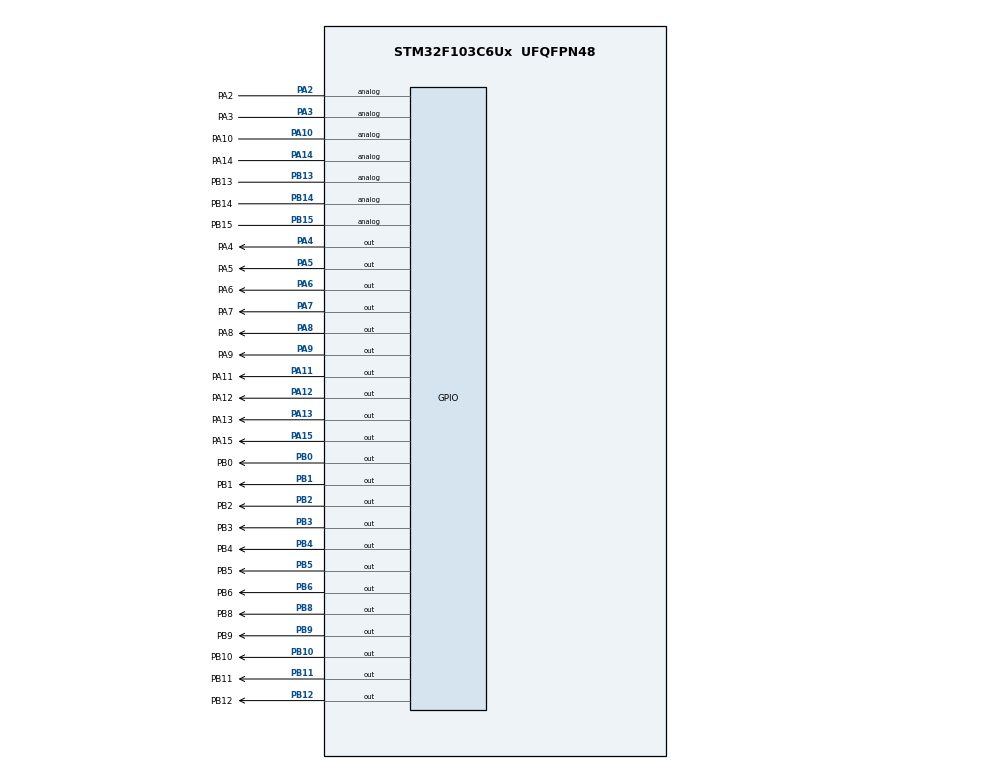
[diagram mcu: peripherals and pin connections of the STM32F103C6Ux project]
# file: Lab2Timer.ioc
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Mcu.Family=STM32F1
Mcu.Name=STM32F103C6Ux
Mcu.Package=UFQFPN48
NVIC.PriorityGroup=NVIC_PRIORITYGROUP_4
NVIC.TIM2_IRQn=true\:0\:0\:false\:false\:true\:true\:true
PA10.GPIO_Label=PA10
PA10.Signal=GPIO_Analog
PA11.GPIO_Label=PA11
PA11.Signal=GPIO_Output
PA12.GPIO_Label=PA12
PA12.Signal=GPIO_Output
PA13.GPIO_Label=PA13
PA13.Signal=GPIO_Output
PA14.GPIO_Label=PA14
PA14.Signal=GPIO_Analog
PA15.GPIO_Label=PA15
PA15.Signal=GPIO_Output
PA2.GPIO_Label=PA2
PA2.Signal=GPIO_Analog
PA3.GPIO_Label=PA3
PA3.Signal=GPIO_Analog
PA4.GPIO_Label=PA4
PA4.Signal=GPIO_Output
PA5.GPIO_Label=PA5
PA5.Signal=GPIO_Output
PA6.GPIO_Label=PA6
PA6.Signal=GPIO_Output
PA7.GPIO_Label=PA7
PA7.Signal=GPIO_Output
PA8.GPIO_Label=PA8
PA8.Signal=GPIO_Output
PA9.GPIO_Label=PA9
PA9.Signal=GPIO_Output
PB0.GPIO_Label=PB0
PB0.Signal=GPIO_Output
PB1.GPIO_Label=PB1
PB1.Signal=GPIO_Output
PB10.GPIO_Label=PB10
PB10.Signal=GPIO_Output
PB11.GPIO_Label=PB11
PB11.Signal=GPIO_Output
PB12.GPIO_Label=PB12
PB12.Signal=GPIO_Output
PB13.GPIO_Label=PB13
PB13.Signal=GPIO_Analog
PB14.GPIO_Label=PB14
PB14.Signal=GPIO_Analog
PB15.GPIO_Label=PB15
PB15.Signal=GPIO_Analog
PB2.GPIO_Label=PB2
PB2.Signal=GPIO_Output
PB3.GPIO_Label=PB3
PB3.Signal=GPIO_Output
PB4.GPIO_Label=PB4
PB4.Signal=GPIO_Output
PB5.GPIO_Label=PB5
PB5.Signal=GPIO_Output
PB6.GPIO_Label=PB6
PB6.Signal=GPIO_Output
PB8.GPIO_Label=PB8
PB8.Signal=GPIO_Output
PB9.GPIO_Label=PB9
PB9.Signal=GPIO_Output
ProjectManager.HeapSize=0x200
ProjectManager.StackSize=0x400
ProjectManager.TargetToolchain=STM32CubeIDE
RCC.APB1Freq_Value=8000000
RCC.APB2Freq_Value=8000000
TIM2.Period=9
TIM2.Prescaler=7999
VP_SYS_VS_ND.Mode=No_Debug
VP_TIM2_VS_ClockSourceINT.Mode=Internal
board=custom

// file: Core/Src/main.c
/* USER CODE BEGIN Header */
/**
  ******************************************************************************
  * @file           : main.c
  * @brief          : Main program body
  ******************************************************************************
  * @attention
  *
  * <h2><center>&copy; Copyright (c) 2024 STMicroelectronics.
  * All rights reserved.</center></h2>
  *
  * This software component is licensed by ST under BSD 3-Clause license,
  * the "License"; You may not use this file except in compliance with the
  * License. You may obtain a copy of the License at:
  *                        opensource.org/licenses/BSD-3-Clause
  *
  ******************************************************************************
  */
/* USER CODE END Header */
#include "main.h"

TIM_HandleTypeDef htim2;

void SystemClock_Config(void);
static void MX_TIM2_Init(void);
static void MX_GPIO_Init(void);

/* USER CODE BEGIN 0 */
int  Ex4Counter = 100;
void Exercise4();
void updateClockBuffer();
void SevenSegmentBCD(int number);
void update7SEG ( int index );
int index_led = 0;
int hour = 15 , minute = 8 , second = 50;

const int MAX_LED_MATRIX = 8 ;
int index_led_matrix = 0;
uint8_t matrix_buffer[8] = { 0x01 , 0x02 , 0x03 , 0x04 , 0x05 , 0x06, 0x07 , 0x08};

void setCol(uint8_t val){
	HAL_GPIO_WritePin(GPIOA, GPIO_PIN_2, (val >> 7)&0x01);
	HAL_GPIO_WritePin(GPIOA, GPIO_PIN_3, (val >> 6)&0x01);
	HAL_GPIO_WritePin(GPIOA, GPIO_PIN_10, (val >> 5)&0x01);
	HAL_GPIO_WritePin(GPIOA, GPIO_PIN_11, (val >> 4)&0x01);
	HAL_GPIO_WritePin(GPIOA, GPIO_PIN_12, (val >> 3)&0x01);
	HAL_GPIO_WritePin(GPIOA, GPIO_PIN_13, (val >> 2)&0x01);
	HAL_GPIO_WritePin(GPIOA, GPIO_PIN_14, (val >> 1)&0x01);
	HAL_GPIO_WritePin(GPIOA, GPIO_PIN_15, (val >> 0)&0x01);
}
void setMATRIX(void){
	HAL_GPIO_WritePin(GPIOB, GPIO_PIN_8, GPIO_PIN_SET);
	HAL_GPIO_WritePin(GPIOB, GPIO_PIN_9, GPIO_PIN_SET);
	HAL_GPIO_WritePin(GPIOB, GPIO_PIN_10, GPIO_PIN_SET);
	HAL_GPIO_WritePin(GPIOB, GPIO_PIN_11, GPIO_PIN_SET);
	HAL_GPIO_WritePin(GPIOB, GPIO_PIN_12, GPIO_PIN_SET);
	HAL_GPIO_WritePin(GPIOB, GPIO_PIN_13, GPIO_PIN_SET);
	HAL_GPIO_WritePin(GPIOB, GPIO_PIN_14, GPIO_PIN_SET);
	HAL_GPIO_WritePin(GPIOB, GPIO_PIN_15, GPIO_PIN_SET);
}

void updateLEDMatrix(int index){
	setMATRIX();
	setCol(matrix_buffer[index]);
	switch(index){

		case 0 :
			HAL_GPIO_WritePin(GPIOB, GPIO_PIN_8, GPIO_PIN_RESET);
					break;
		case 1 :
			HAL_GPIO_WritePin(GPIOB, GPIO_PIN_9, GPIO_PIN_RESET);
					break;
		case 2 :
			HAL_GPIO_WritePin(GPIOB, GPIO_PIN_10, GPIO_PIN_RESET);
					break;
		case 3 :
			HAL_GPIO_WritePin(GPIOB, GPIO_PIN_11, GPIO_PIN_RESET);
					break;
		case 4 :
			HAL_GPIO_WritePin(GPIOB, GPIO_PIN_12, GPIO_PIN_RESET);
					break;
		case 5 :
			HAL_GPIO_WritePin(GPIOB, GPIO_PIN_13, GPIO_PIN_RESET);
					break;
		case 6 :
			HAL_GPIO_WritePin(GPIOB, GPIO_PIN_14, GPIO_PIN_RESET);
					break;
		case 7 :
			HAL_GPIO_WritePin(GPIOB, GPIO_PIN_15, GPIO_PIN_RESET);
					break;
	}
}

int timer0_counter = 0;
int timer0_flag= 0 ;
int timer1_counter = 0;
int timer1_flag= 0 ;
int timer2_counter = 0;
int timer2_flag= 0 ;
int TIMER_CYCLE = 10;

void setTimer0(int duration){
	timer0_counter = duration / TIMER_CYCLE;
	timer0_flag = 0;
}
void setTimer1(int duration){
	timer1_counter = duration / TIMER_CYCLE;
	timer1_flag = 0;
}
void setTimer2(int duration){
	timer2_counter = duration / TIMER_CYCLE;
	timer2_flag = 0;
}
void timer_run(){
	if(timer0_counter >0){
		timer0_counter--;
		if(timer0_counter ==0) timer0_flag=1;
	}
	if(timer1_counter >0){
			timer1_counter--;
			if(timer1_counter ==0) timer1_flag=1;
		}
	if(timer2_counter >0){
			timer2_counter--;
			if(timer2_counter ==0) timer2_flag=1;
		}
}

// Đoạn code này hay quá nên em chép ở đây
void display7SEG(int num) {
  char segNumber[10] = {0xC0, 0xF9, 0xA4, 0xB0, 0x99, 0x92, 0x82, 0xF8, 0x80, 0x90};

  for (int i = 0; i < 7; ++i) {
    // Line needing adjustment for your specific hardware
    HAL_GPIO_WritePin(GPIOB, GPIO_PIN_0 << i, (segNumber[num] >> i) & 1);
  }
}

void Ex5(){

		second ++;
		if ( second >= 60) {
			second = 0;
			minute ++;
		}
		if( minute >= 60) {
			minute = 0;
			hour ++;
		}
		if( hour >=24) {
			hour = 0;
		}
	updateClockBuffer () ;
	HAL_Delay (1000) ;

}
/* USER CODE END 0 */

int main(void)
{

  /* MCU Configuration--------------------------------------------------------*/

  /* Reset of all peripherals, Initializes the Flash interface and the Systick. */
  HAL_Init();

  /* Configure the system clock */
  SystemClock_Config();

  /* Initialize all configured peripherals */
  MX_TIM2_Init();
  MX_GPIO_Init();
  /* USER CODE BEGIN 2 */
  HAL_TIM_Base_Start_IT(&htim2);
  /* USER CODE END 2 */

  /* Infinite loop */
  /* USER CODE BEGIN WHILE */
  setTimer0(1000);
    setTimer1(1000);
    setTimer2(1000);
    while (1)
    {
    /* USER CODE END WHILE */

    /* USER CODE BEGIN 3 */
    	if(timer2_flag == 1 ){
    	    	  		  update7SEG(index_led);
    	    	  		  index_led++;
    	    	  		  if(index_led >=4) index_led = 0;

    	    	  		  updateLEDMatrix(index_led_matrix);
    	    	  		setTimer2(1000);

    	    	  	  }
    }
  /* USER CODE END 3 */
}

void SystemClock_Config(void)
{
  RCC_OscInitTypeDef RCC_OscInitStruct = {0};
  RCC_ClkInitTypeDef RCC_ClkInitStruct = {0};

  /** Initializes the RCC Oscillators according to the specified parameters
  * in the RCC_OscInitTypeDef structure.
  */
  RCC_OscInitStruct.OscillatorType = RCC_OSCILLATORTYPE_HSI;
  RCC_OscInitStruct.HSIState = RCC_HSI_ON;
  RCC_OscInitStruct.HSICalibrationValue = RCC_HSICALIBRATION_DEFAULT;
  RCC_OscInitStruct.PLL.PLLState = RCC_PLL_NONE;
  if (HAL_RCC_OscConfig(&RCC_OscInitStruct) != HAL_OK)
  {
    Error_Handler();
  }
  /** Initializes the CPU, AHB and APB buses clocks
  */
  RCC_ClkInitStruct.ClockType = RCC_CLOCKTYPE_HCLK|RCC_CLOCKTYPE_SYSCLK
                              |RCC_CLOCKTYPE_PCLK1|RCC_CLOCKTYPE_PCLK2;
  RCC_ClkInitStruct.SYSCLKSource = RCC_SYSCLKSOURCE_HSI;
  RCC_ClkInitStruct.AHBCLKDivider = RCC_SYSCLK_DIV1;
  RCC_ClkInitStruct.APB1CLKDivider = RCC_HCLK_DIV1;
  RCC_ClkInitStruct.APB2CLKDivider = RCC_HCLK_DIV1;

  if (HAL_RCC_ClockConfig(&RCC_ClkInitStruct, FLASH_LATENCY_0) != HAL_OK)
  {
    Error_Handler();
  }
}

static void MX_TIM2_Init(void)
{

  TIM_ClockConfigTypeDef sClockSourceConfig = {0};
  TIM_MasterConfigTypeDef sMasterConfig = {0};

  htim2.Instance = TIM2;
  htim2.Init.Prescaler = 7999;
  htim2.Init.CounterMode = TIM_COUNTERMODE_UP;
  htim2.Init.Period = 9;
  htim2.Init.ClockDivision = TIM_CLOCKDIVISION_DIV1;
  htim2.Init.AutoReloadPreload = TIM_AUTORELOAD_PRELOAD_DISABLE;
  if (HAL_TIM_Base_Init(&htim2) != HAL_OK)
  {
    Error_Handler();
  }
  sClockSourceConfig.ClockSource = TIM_CLOCKSOURCE_INTERNAL;
  if (HAL_TIM_ConfigClockSource(&htim2, &sClockSourceConfig) != HAL_OK)
  {
    Error_Handler();
  }
  sMasterConfig.MasterOutputTrigger = TIM_TRGO_RESET;
  sMasterConfig.MasterSlaveMode = TIM_MASTERSLAVEMODE_DISABLE;
  if (HAL_TIMEx_MasterConfigSynchronization(&htim2, &sMasterConfig) != HAL_OK)
  {
    Error_Handler();
  }

}

static void MX_GPIO_Init(void)
{
  GPIO_InitTypeDef GPIO_InitStruct = {0};

  /* GPIO Ports Clock Enable */
  __HAL_RCC_GPIOA_CLK_ENABLE();
  __HAL_RCC_GPIOB_CLK_ENABLE();

  /*Configure GPIO pin Output Level */
  HAL_GPIO_WritePin(GPIOA, PA4_Pin|PA5_Pin|PA6_Pin|PA7_Pin
                          |PA8_Pin|PA9_Pin|PA11_Pin|PA12_Pin
                          |PA13_Pin|PA15_Pin, GPIO_PIN_RESET);

  /*Configure GPIO pin Output Level */
  HAL_GPIO_WritePin(GPIOB, PB0_Pin|PB1_Pin|PB2_Pin|PB10_Pin
                          |PB11_Pin|PB12_Pin|PB3_Pin|PB4_Pin
                          |PB5_Pin|PB6_Pin|PB8_Pin|PB9_Pin, GPIO_PIN_RESET);

  /*Configure GPIO pins : PA2_Pin PA3_Pin PA10_Pin PA14_Pin */
  GPIO_InitStruct.Pin = PA2_Pin|PA3_Pin|PA10_Pin|PA14_Pin;
  GPIO_InitStruct.Mode = GPIO_MODE_ANALOG;
  HAL_GPIO_Init(GPIOA, &GPIO_InitStruct);

  /*Configure GPIO pins : PA4_Pin PA5_Pin PA6_Pin PA7_Pin
                           PA8_Pin PA9_Pin PA11_Pin PA12_Pin
                           PA13_Pin PA15_Pin */
  GPIO_InitStruct.Pin = PA4_Pin|PA5_Pin|PA6_Pin|PA7_Pin
                          |PA8_Pin|PA9_Pin|PA11_Pin|PA12_Pin
                          |PA13_Pin|PA15_Pin;
  GPIO_InitStruct.Mode = GPIO_MODE_OUTPUT_PP;
  GPIO_InitStruct.Pull = GPIO_NOPULL;
  GPIO_InitStruct.Speed = GPIO_SPEED_FREQ_LOW;
  HAL_GPIO_Init(GPIOA, &GPIO_InitStruct);

  /*Configure GPIO pins : PB0_Pin PB1_Pin PB2_Pin PB10_Pin
                           PB11_Pin PB12_Pin PB3_Pin PB4_Pin
                           PB5_Pin PB6_Pin PB8_Pin PB9_Pin */
  GPIO_InitStruct.Pin = PB0_Pin|PB1_Pin|PB2_Pin|PB10_Pin
                          |PB11_Pin|PB12_Pin|PB3_Pin|PB4_Pin
                          |PB5_Pin|PB6_Pin|PB8_Pin|PB9_Pin;
  GPIO_InitStruct.Mode = GPIO_MODE_OUTPUT_PP;
  GPIO_InitStruct.Pull = GPIO_NOPULL;
  GPIO_InitStruct.Speed = GPIO_SPEED_FREQ_LOW;
  HAL_GPIO_Init(GPIOB, &GPIO_InitStruct);

  /*Configure GPIO pins : PB13_Pin PB14_Pin PB15_Pin */
  GPIO_InitStruct.Pin = PB13_Pin|PB14_Pin|PB15_Pin;
  GPIO_InitStruct.Mode = GPIO_MODE_ANALOG;
  HAL_GPIO_Init(GPIOB, &GPIO_InitStruct);

}

/* USER CODE BEGIN 4 */
int counter = 50;
int halfTimeCounter =0;
uint8_t numberPA = 6;

const int MAX_LED = 4;

int led_buffer[4] = {1,2,3,4};
int status = 0;
int buffer[4] = {1,2,3,0};

/* */

void Exercise1(){
	counter--;
		if(counter <=0){
		counter = 50;
		if(numberPA == 6){
		HAL_GPIO_WritePin(GPIOA, GPIO_PIN_6, GPIO_PIN_RESET );
		HAL_GPIO_WritePin(GPIOA, GPIO_PIN_7, GPIO_PIN_SET );
		SevenSegmentBCD(1);
		numberPA = 7 ;
		}
		else if ( numberPA == 7)
		{
		HAL_GPIO_WritePin(GPIOA, GPIO_PIN_6, GPIO_PIN_SET );
		HAL_GPIO_WritePin(GPIOA, GPIO_PIN_7, GPIO_PIN_RESET );
		SevenSegmentBCD(2);
		numberPA = 6 ;
		}
		}
}
void SevenSegmentBCD(int number){
	 uint8_t bit_d = (number & 0x01)>>0;  // Extracting least significant bit (bit 0)
	    uint8_t bit_c = (number & 0x02)>>1 ;  // Extracting bit 1
	    uint8_t bit_b = (number & 0x04) >>2;  // Extracting bit 2
	    uint8_t bit_a = (number & 0x08) >>3;  // Extracting most significant bit (bit 3)

	    uint8_t segment_a = (bit_a || bit_c || (!bit_b && !bit_d) | (bit_b && bit_d)) ? 1 : 0;
	    uint8_t segment_b = (!bit_b || (bit_c && bit_d)|| (!bit_c && !bit_d)) ? 1 : 0 ;
	    uint8_t segment_c = (bit_d || !bit_c || bit_b) ? 1 : 0;
	    uint8_t segment_d = ((!bit_c && bit_b && bit_d) || (bit_c && !bit_d) || (!bit_b && !bit_d) || (!bit_b && bit_c) || bit_a) ? 1  : 0;
	    uint8_t segment_e = ((!bit_b || bit_c) && !bit_d) ? 1 : 0 ;
	    uint8_t segment_f = ((!bit_c && bit_b) || (!bit_c && !bit_d) || (bit_b && !bit_d) || bit_a) ? 1 : 0;
	    uint8_t segment_g = (  bit_a ||  (bit_b && !bit_c) || (!bit_b && bit_c)|| (bit_c && !bit_d)) ? 1: 0;

	HAL_GPIO_WritePin(GPIOB, GPIO_PIN_0, segment_a ? GPIO_PIN_RESET : GPIO_PIN_SET);
	HAL_GPIO_WritePin(GPIOB, GPIO_PIN_1, segment_b ? GPIO_PIN_RESET : GPIO_PIN_SET); // Note the inversion with '!' removed
	HAL_GPIO_WritePin(GPIOB, GPIO_PIN_2, segment_c ? GPIO_PIN_RESET : GPIO_PIN_SET);
	HAL_GPIO_WritePin(GPIOB, GPIO_PIN_3, segment_d ? GPIO_PIN_RESET : GPIO_PIN_SET);
	HAL_GPIO_WritePin(GPIOB, GPIO_PIN_4, segment_e ? GPIO_PIN_RESET : GPIO_PIN_SET);
	HAL_GPIO_WritePin(GPIOB, GPIO_PIN_5, segment_f ? GPIO_PIN_RESET : GPIO_PIN_SET);
	HAL_GPIO_WritePin(GPIOB, GPIO_PIN_6, segment_g ? GPIO_PIN_RESET : GPIO_PIN_SET);

}

void update7SEG ( int index ) {
 switch ( index ) {
 	 case 0:
 		HAL_GPIO_WritePin(GPIOA, GPIO_PIN_6, GPIO_PIN_RESET);
 		SevenSegmentBCD( led_buffer[0]);
 		 	 // Display the first 7 SEG with led_buffer [0]
 		 break ;
 	 case 1:
 		HAL_GPIO_WritePin(GPIOA, GPIO_PIN_7, GPIO_PIN_RESET);
 		SevenSegmentBCD( led_buffer[0]);
 		 break ;
 	 case 2:
 		HAL_GPIO_WritePin(GPIOA, GPIO_PIN_8, GPIO_PIN_RESET);
 		SevenSegmentBCD( led_buffer[0]);
 		 break ;
 	 case 3:
 		HAL_GPIO_WritePin(GPIOA, GPIO_PIN_9, GPIO_PIN_RESET);
 		SevenSegmentBCD( led_buffer[0]);
 		 break ;
 	 default :
 		 break ;
 }
 }
void Exercise2(){

	counter--;
			if(counter <=0){
			counter = 50;
			halfTimeCounter++;
			if(halfTimeCounter > 2){
				HAL_GPIO_TogglePin(GPIOA, GPIO_PIN_4);
				HAL_GPIO_TogglePin(GPIOA, GPIO_PIN_5);
				halfTimeCounter = 0;
			}

			HAL_GPIO_WritePin(GPIOA, GPIO_PIN_4 | GPIO_PIN_5 | GPIO_PIN_6 | GPIO_PIN_7 | GPIO_PIN_8 | GPIO_PIN_9 , GPIO_PIN_SET); // clear all Led
			HAL_GPIO_WritePin(GPIOA, GPIO_PIN_6 << status, GPIO_PIN_RESET);
			SevenSegmentBCD(buffer[status]);
			status++;
			if(status >=4) status = 0;
			}
}

void Exercise4(){
	Ex4Counter--;
	if(Ex4Counter <= 0){
		if(Ex4Counter % 25 ==0){
			update7SEG(index_led);
						SevenSegmentBCD(buffer[index_led]);
						index_led++;
						if(index_led >=4) index_led = 0;
		}

		Ex4Counter=100;
	}
}

void Exercise7(){

			second ++;
			if ( second >= 60) {
				second = 0;
				minute ++;
			}
			if( minute >= 60) {
				minute = 0;
				hour ++;
			}
			if( hour >=24) {
				hour = 0;
			}
		updateClockBuffer () ;

}

void updateClockBuffer(){
	led_buffer[0] = hour / 10;
	led_buffer[1] = hour % 10;
	led_buffer[2] = minute / 10;
	led_buffer[3] = minute % 10;
}

void HAL_TIM_PeriodElapsedCallback(TIM_HandleTypeDef *htim ){
	//timer_run();
	Exercise2();
}
/* USER CODE END 4 */

void Error_Handler(void)
{
  __disable_irq();
  while (1)
  {
  }
}

/************************ (C) COPYRIGHT STMicroelectronics *****END OF FILE****/
